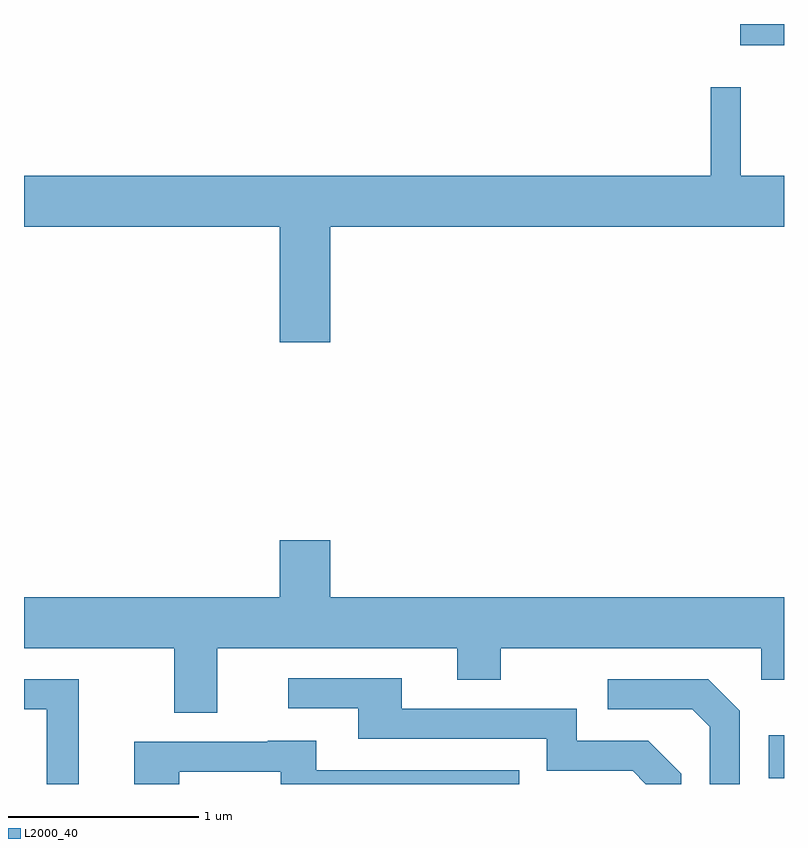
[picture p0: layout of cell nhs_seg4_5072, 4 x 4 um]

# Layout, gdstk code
import gdstk
lib = gdstk.Library(unit=1e-6, precision=1e-09)
def R(c, l, rs):  # rectangles x0, y0, x1, y1
    for r in rs: c.add(gdstk.rectangle(r[:2], r[2:], *l))
def P(c, l, *ps):  # polygons
    for p in ps: c.add(gdstk.Polygon(p, *l))
L2000_40 = (2000, 40)

nhs_seg4_5072 = lib.new_cell('nhs_seg4_5072')
R(nhs_seg4_5072, L2000_40, [(337.531,1334.011,337.611,1334.239), (337.381,1337.871,337.611,1337.982)])
P(nhs_seg4_5072, L2000_40, [(335.224,1336.916),(337.611,1336.916),(337.611,1337.184),(337.384,1337.184),(337.384,1337.648),(337.226,1337.648),(337.226,1337.184),(333.611,1337.184),(333.611,1336.916),(334.956,1336.916),(334.956,1336.306),(335.224,1336.306)],
  [(334.629,1334.696),(335.891,1334.696),(335.891,1334.531),(336.119,1334.531),(336.119,1334.696),(337.491,1334.696),(337.491,1334.531),(337.611,1334.531),(337.611,1334.964),(335.224,1334.964),(335.224,1335.264),(334.956,1335.264),(334.956,1334.964),(333.611,1334.964),(333.611,1334.696),(334.401,1334.696),(334.401,1334.356),(334.629,1334.356)],
  [(337.069,1334.037),(336.897,1334.209),(336.519,1334.209),(336.519,1334.379),(335.599,1334.379),(335.599,1334.539),(335.003,1334.539),(335.003,1334.381),(335.371,1334.381),(335.371,1334.221),(336.361,1334.221),(336.361,1334.051),(336.814,1334.051),(336.883,1333.982),(337.069,1333.982)],
  [(337.379,1334.367),(337.212,1334.534),(336.683,1334.534),(336.683,1334.376),(337.129,1334.376),(337.221,1334.284),(337.221,1333.982),(337.379,1333.982)],
  [(333.899,1334.534),(333.611,1334.534),(333.611,1334.376),(333.731,1334.376),(333.731,1333.982),(333.899,1333.982)],
  [(334.429,1334.046),(334.961,1334.046),(334.961,1333.982),(336.218,1333.982),(336.218,1334.054),(335.149,1334.054),(335.149,1334.209),(334.895,1334.209),(334.895,1334.204),(334.191,1334.204),(334.191,1333.982),(334.429,1333.982)])

lib.write_gds('nhs_seg4_5072.gds')
